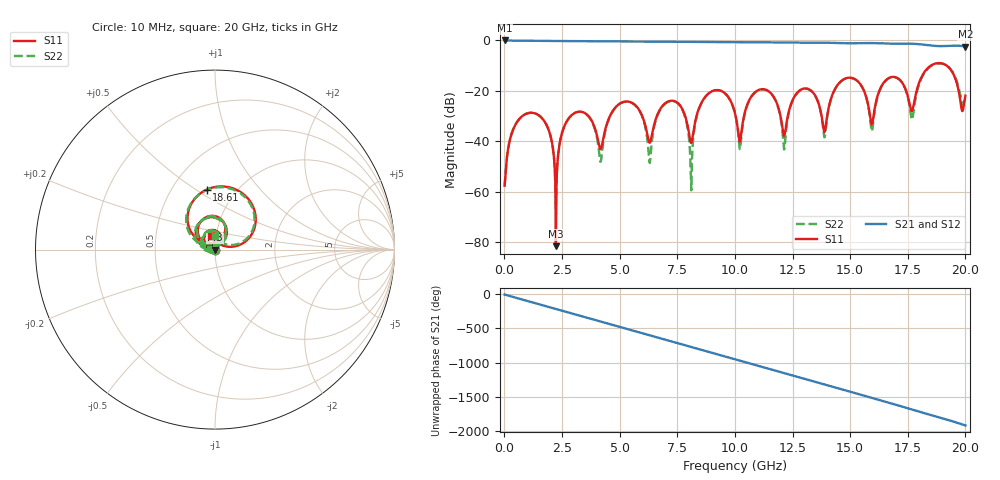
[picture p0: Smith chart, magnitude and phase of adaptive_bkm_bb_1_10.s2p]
! HFSS adaptive-range study - 40 x 12 mm 5-layer stripline coupon
! with a signal via transition at mid-board
! Case: Broadband adaptive 1-10 GHz (current tool BKM: 1 GHz to Fmax/2)
! Sweep: interpolating 10 MHz - 20 GHz, 25 MHz step, 4 cores
# GHz S MA R 50.000000
! Terminal data exported
! Port[1] = U1.PAD1.SIG
! Port[2] = U2.PAD1.SIG
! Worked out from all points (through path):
!   801 points, 10 MHz to 20 GHz, reference 50 ohm
!   highest |S21| = -0.01 dB at 10 MHz (marker M1); lowest = -2.5 dB at 20 GHz (marker M2)
!   group delay of S21, straight-line fit = 266 ps
!   lowest |S11| = -81.6 dB at 2.235 GHz (marker M3), VSWR 1.00, Z = 50 + j0.00753 ohm
!   |S11| at or under -10 dB: start of sweep to 18.5 GHz; 19.19 GHz to end of sweep
!   |S22| runs from -66.6 to -9.1 dB; largest |S21 - S12| = 1.2e-13
!   S11 on the Smith chart (normalised r, x): 10 MHz: 1.00, -0.00; 18.61 GHz: 0.73, +0.55; 20 GHz: 0.95, +0.15
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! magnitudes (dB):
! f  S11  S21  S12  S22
! 10 MHz  -57.6  0.0  0.0  -57.6
! 1.135 GHz  -28.7  -0.2  -0.2  -28.7
! 2.235 GHz  -81.6  -0.2  -0.2  -66.6
! 3.36 GHz  -28.3  -0.3  -0.3  -28.4
! 4.16 GHz  -43.1  -0.4  -0.4  -48.0
! 4.985 GHz  -25.2  -0.4  -0.4  -25.2
! 6.31 GHz  -40.6  -0.5  -0.5  -48.6
! 6.685 GHz  -28.5  -0.5  -0.5  -28.8
! 7.585 GHz  -25.4  -0.6  -0.6  -25.5
! 8.11 GHz  -40.6  -0.6  -0.6  -59.4
! 8.835 GHz  -21.2  -0.7  -0.7  -21.2
! 10.01 GHz  -29.1  -0.7  -0.7  -29.1
! 11.38 GHz  -19.7  -0.8  -0.8  -19.8
! 12.13 GHz  -37.8  -0.8  -0.8  -43.3
! 13.36 GHz  -20.4  -0.9  -0.9  -20.4
! 13.88 GHz  -36.4  -0.9  -0.9  -38.4
! 15.19 GHz  -15.2  -1.1  -1.1  -15.3
! 15.94 GHz  -33.4  -1.0  -1.0  -36.0
! 16.68 GHz  -14.9  -1.3  -1.3  -15.0
! 17.68 GHz  -28.0  -1.3  -1.3  -31.5
! 18.61 GHz  -9.4  -2.1  -2.1  -9.6
! 20 GHz  -21.9  -2.5  -2.5  -22.6
